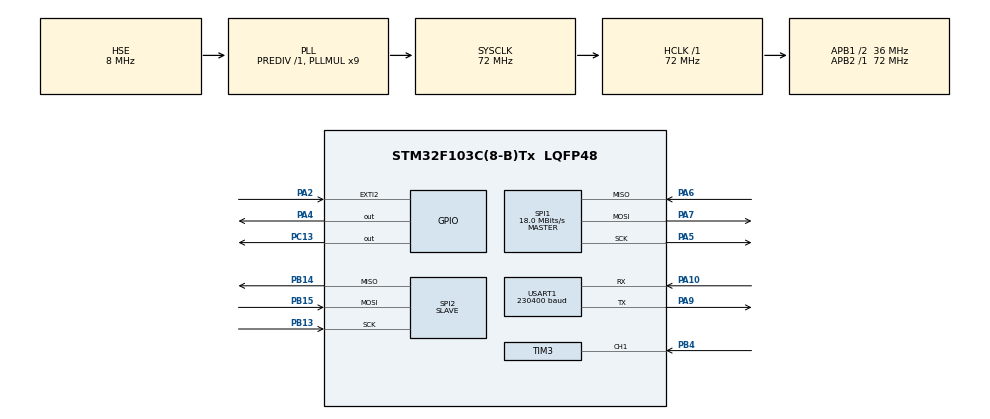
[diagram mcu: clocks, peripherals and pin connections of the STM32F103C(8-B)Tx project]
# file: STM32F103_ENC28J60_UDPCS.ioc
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Dma.Request0=SPI2_TX
Dma.Request1=SPI2_RX
Dma.SPI2_RX.1.Direction=DMA_PERIPH_TO_MEMORY
Dma.SPI2_RX.1.Instance=DMA1_Channel4
Dma.SPI2_RX.1.MemDataAlignment=DMA_MDATAALIGN_BYTE
Dma.SPI2_RX.1.MemInc=DMA_MINC_ENABLE
Dma.SPI2_RX.1.Mode=DMA_NORMAL
Dma.SPI2_RX.1.PeriphDataAlignment=DMA_PDATAALIGN_BYTE
Dma.SPI2_RX.1.PeriphInc=DMA_PINC_DISABLE
Dma.SPI2_RX.1.Priority=DMA_PRIORITY_VERY_HIGH
Dma.SPI2_TX.0.Direction=DMA_MEMORY_TO_PERIPH
Dma.SPI2_TX.0.Instance=DMA1_Channel5
Dma.SPI2_TX.0.MemDataAlignment=DMA_MDATAALIGN_BYTE
Dma.SPI2_TX.0.MemInc=DMA_MINC_ENABLE
Dma.SPI2_TX.0.Mode=DMA_NORMAL
Dma.SPI2_TX.0.PeriphDataAlignment=DMA_PDATAALIGN_BYTE
Dma.SPI2_TX.0.PeriphInc=DMA_PINC_DISABLE
Dma.SPI2_TX.0.Priority=DMA_PRIORITY_VERY_HIGH
Mcu.Family=STM32F1
Mcu.Name=STM32F103C(8-B)Tx
Mcu.Package=LQFP48
NVIC.DMA1_Channel4_IRQn=true\:0\:0\:false\:false\:true\:false\:true
NVIC.DMA1_Channel5_IRQn=true\:0\:0\:false\:false\:true\:false\:true
NVIC.EXTI2_IRQn=true\:0\:0\:false\:false\:true\:true\:true
NVIC.PriorityGroup=NVIC_PRIORITYGROUP_4
NVIC.SPI1_IRQn=true\:0\:0\:false\:false\:true\:true\:true
NVIC.SPI2_IRQn=true\:0\:0\:false\:false\:true\:true\:true
NVIC.TIM2_IRQn=true\:0\:0\:false\:false\:true\:true\:true
NVIC.USART1_IRQn=true\:0\:0\:false\:false\:true\:true\:true
PA10.Mode=Asynchronous
PA10.Signal=USART1_RX
PA13.Mode=Serial_Wire
PA13.Signal=SYS_JTMS-SWDIO
PA14.Mode=Serial_Wire
PA14.Signal=SYS_JTCK-SWCLK
PA2.GPIO_ModeDefaultEXTI=GPIO_MODE_IT_FALLING
PA2.Signal=GPXTI2
PA4.GPIO_Speed=GPIO_SPEED_FREQ_MEDIUM
PA4.Signal=GPIO_Output
PA5.Mode=Full_Duplex_Master
PA5.Signal=SPI1_SCK
PA6.Mode=Full_Duplex_Master
PA6.Signal=SPI1_MISO
PA7.Mode=Full_Duplex_Master
PA7.Signal=SPI1_MOSI
PA9.Mode=Asynchronous
PA9.Signal=USART1_TX
PB13.Mode=Full_Duplex_Slave
PB13.Signal=SPI2_SCK
PB14.Mode=Full_Duplex_Slave
PB14.Signal=SPI2_MISO
PB15.Mode=Full_Duplex_Slave
PB15.Signal=SPI2_MOSI
PB4.Signal=S_TIM3_CH1
PC13-TAMPER-RTC.GPIO_Speed=GPIO_SPEED_FREQ_MEDIUM
PC13-TAMPER-RTC.Signal=GPIO_Output
PD0-OSC_IN.Mode=HSE-External-Oscillator
PD0-OSC_IN.Signal=RCC_OSC_IN
PD1-OSC_OUT.Mode=HSE-External-Oscillator
PD1-OSC_OUT.Signal=RCC_OSC_OUT
ProjectManager.HeapSize=0x200
ProjectManager.StackSize=0x400
ProjectManager.TargetToolchain=STM32CubeIDE
RCC.AHBCLKDivider=RCC_SYSCLK_DIV1
RCC.AHBFreq_Value=72000000
RCC.APB1CLKDivider=RCC_HCLK_DIV2
RCC.APB1Freq_Value=36000000
RCC.APB1TimFreq_Value=72000000
RCC.APB2CLKDivider=RCC_HCLK_DIV1
RCC.APB2Freq_Value=72000000
RCC.APB2TimFreq_Value=72000000
RCC.HCLKFreq_Value=72000000
RCC.OscillatorTypeHSI=RCC_OSCILLATORTYPE_HSI
RCC.PLLMUL=RCC_PLL_MUL9
RCC.PLLSourceVirtual=RCC_PLLSOURCE_HSE
RCC.SYSCLKFreq_VALUE=72000000
RCC.SYSCLKSource=RCC_SYSCLKSOURCE_PLLCLK
RCC.TimSys_Div=SYSTICK_CLKSOURCE_HCLK
RCC.USBFreq_Value=72000000
SH.S_TIM3_CH1.0=TIM3_CH1,Input_Capture1_from_TI1
SPI1.BaudRatePrescaler=SPI_BAUDRATEPRESCALER_4
SPI1.CalculateBaudRate=18.0 MBits/s
SPI1.Direction=SPI_DIRECTION_2LINES
SPI1.Mode=SPI_MODE_MASTER
SPI1.VirtualType=VM_MASTER
SPI2.Direction=SPI_DIRECTION_2LINES
SPI2.Mode=SPI_MODE_SLAVE
SPI2.VirtualType=VM_SLAVE
TIM2.Period=1000
TIM2.Prescaler=39999
TIM2.TIM_MasterOutputTrigger=TIM_TRGO_UPDATE
TIM3.Channel-Input_Capture1_from_TI1=TIM_CHANNEL_1
TIM3.Channel-Input_Capture2_from_TI1_63=TIM_CHANNEL_2
USART1.BaudRate=230400
USART1.VirtualMode=VM_ASYNC
VP_TIM2_VS_ClockSourceINT.Mode=Internal
VP_TIM3_VS_ClockSourceINT.Mode=Internal
VP_TIM3_VS_indirect_ch1.Mode=Input_Capture2_from_TI1_63
board=ENC28J60_UDPC

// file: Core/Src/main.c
/* USER CODE BEGIN Header */
/**
  ******************************************************************************
  * @file           : main.c
  * @brief          : Main program body
  ******************************************************************************
  * @attention
  *
  * Copyright (c) 2023 STMicroelectronics.
  * All rights reserved.
  *
  * This software is licensed under terms that can be found in the LICENSE file
  * in the root directory of this software component.
  * If no LICENSE file comes with this software, it is provided AS-IS.
  *
  ******************************************************************************
  */
/* USER CODE END Header */
#include "main.h"

/* USER CODE BEGIN Includes */
#include "net.h"
#include "enc28j60.h"
/* USER CODE END Includes */

/* USER CODE BEGIN PTD */
#define delayUS_ASM(us) do {                           \
asm volatile ("MOV R0,%[loops]\n                       \
              1: \n                                    \
              SUB R0, #1\n                             \
              CMP R0, #0\n                             \
              BNE 1b \t"                               \
              : : [loops] "r" (us/30) : "memory"        \
              );                                       \
} while(0)
/* USER CODE END PTD */

SPI_HandleTypeDef hspi1;
SPI_HandleTypeDef hspi2;
DMA_HandleTypeDef hdma_spi2_tx;
DMA_HandleTypeDef hdma_spi2_rx;

TIM_HandleTypeDef htim2;
TIM_HandleTypeDef htim3;

UART_HandleTypeDef huart1;

/* USER CODE BEGIN PV */
/* Private variables ---------------------------------------------------------*/
char str[20];
/* USER CODE END PV */

void SystemClock_Config(void);
static void MX_GPIO_Init(void);
static void MX_SPI1_Init(void);
static void MX_TIM2_Init(void);
static void MX_USART1_UART_Init(void);
static void MX_DMA_Init(void);
static void MX_SPI2_Init(void);
static void MX_TIM3_Init(void);
/* USER CODE BEGIN PFP */
/* Private function prototypes -----------------------------------------------*/

/* USER CODE END PFP */

int main(void)
{

  /* MCU Configuration--------------------------------------------------------*/

  /* Reset of all peripherals, Initializes the Flash interface and the Systick. */
  HAL_Init();

  /* Configure the system clock */
  SystemClock_Config();

  /* Initialize all configured peripherals */
  MX_GPIO_Init();
  MX_SPI1_Init();
  MX_TIM2_Init();
  MX_USART1_UART_Init();
  MX_DMA_Init();
  MX_SPI2_Init();
  MX_TIM3_Init();
  /* USER CODE BEGIN 2 */
	net_ini();
	HAL_UART_Receive_IT(&huart1, (uint8_t*)str,1);
	HAL_TIM_Base_Start_IT(&htim2);

    HAL_TIM_IC_Start_IT(&htim3, TIM_CHANNEL_1);
    HAL_TIM_IC_Start_IT(&htim3, TIM_CHANNEL_2);
  /* USER CODE END 2 */

  /* Infinite loop */
  /* USER CODE BEGIN WHILE */
    //PB4  -  вход TIM3 (F0 - синхро от ISDN)
    //PB13  -  SPI2 CLK
    //PB14  -  SPI2 MISO - выход сигнала ISDN
    //PB15  -  SPI2 MOSI - вход сигнала ISDN
    uint8_t destIp[4] = {192,168,1,17};
    uint16_t destPort = 4095;
  while (1)
  {
      udp_send(destIp,destPort);
//      delayUS_ASM(500000);
      HAL_UART_Transmit(&huart1,"udp_send\r\n",10,0x1000);

    /* USER CODE END WHILE */

    /* USER CODE BEGIN 3 */
//        net_poll();
  }
  /* USER CODE END 3 */
}

void SystemClock_Config(void)
{
  RCC_OscInitTypeDef RCC_OscInitStruct = {0};
  RCC_ClkInitTypeDef RCC_ClkInitStruct = {0};

  /** Initializes the RCC Oscillators according to the specified parameters
  * in the RCC_OscInitTypeDef structure.
  */
  RCC_OscInitStruct.OscillatorType = RCC_OSCILLATORTYPE_HSI|RCC_OSCILLATORTYPE_HSE;
  RCC_OscInitStruct.HSEState = RCC_HSE_ON;
  RCC_OscInitStruct.HSEPredivValue = RCC_HSE_PREDIV_DIV1;
  RCC_OscInitStruct.HSIState = RCC_HSI_ON;
  RCC_OscInitStruct.PLL.PLLState = RCC_PLL_ON;
  RCC_OscInitStruct.PLL.PLLSource = RCC_PLLSOURCE_HSE;
  RCC_OscInitStruct.PLL.PLLMUL = RCC_PLL_MUL9;
  if (HAL_RCC_OscConfig(&RCC_OscInitStruct) != HAL_OK)
  {
    Error_Handler();
  }
  /** Initializes the CPU, AHB and APB buses clocks
  */
  RCC_ClkInitStruct.ClockType = RCC_CLOCKTYPE_HCLK|RCC_CLOCKTYPE_SYSCLK
                              |RCC_CLOCKTYPE_PCLK1|RCC_CLOCKTYPE_PCLK2;
  RCC_ClkInitStruct.SYSCLKSource = RCC_SYSCLKSOURCE_PLLCLK;
  RCC_ClkInitStruct.AHBCLKDivider = RCC_SYSCLK_DIV1;
  RCC_ClkInitStruct.APB1CLKDivider = RCC_HCLK_DIV2;
  RCC_ClkInitStruct.APB2CLKDivider = RCC_HCLK_DIV1;

  if (HAL_RCC_ClockConfig(&RCC_ClkInitStruct, FLASH_LATENCY_2) != HAL_OK)
  {
    Error_Handler();
  }
}

static void MX_SPI1_Init(void)
{

  /* SPI1 parameter configuration*/
  hspi1.Instance = SPI1;
  hspi1.Init.Mode = SPI_MODE_MASTER;
  hspi1.Init.Direction = SPI_DIRECTION_2LINES;
  hspi1.Init.DataSize = SPI_DATASIZE_8BIT;
  hspi1.Init.CLKPolarity = SPI_POLARITY_LOW;
  hspi1.Init.CLKPhase = SPI_PHASE_1EDGE;
  hspi1.Init.NSS = SPI_NSS_SOFT;
  hspi1.Init.BaudRatePrescaler = SPI_BAUDRATEPRESCALER_4;
  hspi1.Init.FirstBit = SPI_FIRSTBIT_MSB;
  hspi1.Init.TIMode = SPI_TIMODE_DISABLE;
  hspi1.Init.CRCCalculation = SPI_CRCCALCULATION_DISABLE;
  hspi1.Init.CRCPolynomial = 10;
  if (HAL_SPI_Init(&hspi1) != HAL_OK)
  {
    Error_Handler();
  }

}

static void MX_SPI2_Init(void)
{

  /* SPI2 parameter configuration*/
  hspi2.Instance = SPI2;
  hspi2.Init.Mode = SPI_MODE_SLAVE;
  hspi2.Init.Direction = SPI_DIRECTION_2LINES;
  hspi2.Init.DataSize = SPI_DATASIZE_8BIT;
  hspi2.Init.CLKPolarity = SPI_POLARITY_LOW;
  hspi2.Init.CLKPhase = SPI_PHASE_1EDGE;
  hspi2.Init.NSS = SPI_NSS_SOFT;
  hspi2.Init.FirstBit = SPI_FIRSTBIT_MSB;
  hspi2.Init.TIMode = SPI_TIMODE_DISABLE;
  hspi2.Init.CRCCalculation = SPI_CRCCALCULATION_DISABLE;
  hspi2.Init.CRCPolynomial = 10;
  if (HAL_SPI_Init(&hspi2) != HAL_OK)
  {
    Error_Handler();
  }

}

static void MX_TIM2_Init(void)
{

  TIM_ClockConfigTypeDef sClockSourceConfig = {0};
  TIM_MasterConfigTypeDef sMasterConfig = {0};

  htim2.Instance = TIM2;
  htim2.Init.Prescaler = 39999;
  htim2.Init.CounterMode = TIM_COUNTERMODE_UP;
  htim2.Init.Period = 1000;
  htim2.Init.ClockDivision = TIM_CLOCKDIVISION_DIV1;
  htim2.Init.AutoReloadPreload = TIM_AUTORELOAD_PRELOAD_DISABLE;
  if (HAL_TIM_Base_Init(&htim2) != HAL_OK)
  {
    Error_Handler();
  }
  sClockSourceConfig.ClockSource = TIM_CLOCKSOURCE_INTERNAL;
  if (HAL_TIM_ConfigClockSource(&htim2, &sClockSourceConfig) != HAL_OK)
  {
    Error_Handler();
  }
  sMasterConfig.MasterOutputTrigger = TIM_TRGO_UPDATE;
  sMasterConfig.MasterSlaveMode = TIM_MASTERSLAVEMODE_DISABLE;
  if (HAL_TIMEx_MasterConfigSynchronization(&htim2, &sMasterConfig) != HAL_OK)
  {
    Error_Handler();
  }

}

static void MX_TIM3_Init(void)
{

  TIM_ClockConfigTypeDef sClockSourceConfig = {0};
  TIM_MasterConfigTypeDef sMasterConfig = {0};
  TIM_IC_InitTypeDef sConfigIC = {0};

  htim3.Instance = TIM3;
  htim3.Init.Prescaler = 0;
  htim3.Init.CounterMode = TIM_COUNTERMODE_UP;
  htim3.Init.Period = 65535;
  htim3.Init.ClockDivision = TIM_CLOCKDIVISION_DIV1;
  htim3.Init.AutoReloadPreload = TIM_AUTORELOAD_PRELOAD_DISABLE;
  if (HAL_TIM_Base_Init(&htim3) != HAL_OK)
  {
    Error_Handler();
  }
  sClockSourceConfig.ClockSource = TIM_CLOCKSOURCE_INTERNAL;
  if (HAL_TIM_ConfigClockSource(&htim3, &sClockSourceConfig) != HAL_OK)
  {
    Error_Handler();
  }
  if (HAL_TIM_IC_Init(&htim3) != HAL_OK)
  {
    Error_Handler();
  }
  sMasterConfig.MasterOutputTrigger = TIM_TRGO_RESET;
  sMasterConfig.MasterSlaveMode = TIM_MASTERSLAVEMODE_DISABLE;
  if (HAL_TIMEx_MasterConfigSynchronization(&htim3, &sMasterConfig) != HAL_OK)
  {
    Error_Handler();
  }
  sConfigIC.ICPolarity = TIM_INPUTCHANNELPOLARITY_RISING;
  sConfigIC.ICSelection = TIM_ICSELECTION_DIRECTTI;
  sConfigIC.ICPrescaler = TIM_ICPSC_DIV1;
  sConfigIC.ICFilter = 0;
  if (HAL_TIM_IC_ConfigChannel(&htim3, &sConfigIC, TIM_CHANNEL_1) != HAL_OK)
  {
    Error_Handler();
  }
  sConfigIC.ICSelection = TIM_ICSELECTION_INDIRECTTI;
  if (HAL_TIM_IC_ConfigChannel(&htim3, &sConfigIC, TIM_CHANNEL_2) != HAL_OK)
  {
    Error_Handler();
  }

}

static void MX_USART1_UART_Init(void)
{

  huart1.Instance = USART1;
  huart1.Init.BaudRate = 230400;
  huart1.Init.WordLength = UART_WORDLENGTH_8B;
  huart1.Init.StopBits = UART_STOPBITS_1;
  huart1.Init.Parity = UART_PARITY_NONE;
  huart1.Init.Mode = UART_MODE_TX_RX;
  huart1.Init.HwFlowCtl = UART_HWCONTROL_NONE;
  huart1.Init.OverSampling = UART_OVERSAMPLING_16;
  if (HAL_UART_Init(&huart1) != HAL_OK)
  {
    Error_Handler();
  }

}

static void MX_DMA_Init(void)
{

  /* DMA controller clock enable */
  __HAL_RCC_DMA1_CLK_ENABLE();

  /* DMA interrupt init */
  /* DMA1_Channel4_IRQn interrupt configuration */
  HAL_NVIC_SetPriority(DMA1_Channel4_IRQn, 0, 0);
  HAL_NVIC_EnableIRQ(DMA1_Channel4_IRQn);
  /* DMA1_Channel5_IRQn interrupt configuration */
  HAL_NVIC_SetPriority(DMA1_Channel5_IRQn, 0, 0);
  HAL_NVIC_EnableIRQ(DMA1_Channel5_IRQn);

}

static void MX_GPIO_Init(void)
{
  GPIO_InitTypeDef GPIO_InitStruct = {0};

  /* GPIO Ports Clock Enable */
  __HAL_RCC_GPIOC_CLK_ENABLE();
  __HAL_RCC_GPIOD_CLK_ENABLE();
  __HAL_RCC_GPIOA_CLK_ENABLE();
  __HAL_RCC_GPIOB_CLK_ENABLE();

  /*Configure GPIO pin Output Level */
  HAL_GPIO_WritePin(GPIOC, GPIO_PIN_13, GPIO_PIN_RESET);

  /*Configure GPIO pin Output Level */
  HAL_GPIO_WritePin(GPIOA, GPIO_PIN_4, GPIO_PIN_RESET);

  /*Configure GPIO pin : PC13 */
  GPIO_InitStruct.Pin = GPIO_PIN_13;
  GPIO_InitStruct.Mode = GPIO_MODE_OUTPUT_PP;
  GPIO_InitStruct.Pull = GPIO_NOPULL;
  GPIO_InitStruct.Speed = GPIO_SPEED_FREQ_MEDIUM;
  HAL_GPIO_Init(GPIOC, &GPIO_InitStruct);

  /*Configure GPIO pin : PA2 */
  GPIO_InitStruct.Pin = GPIO_PIN_2;
  GPIO_InitStruct.Mode = GPIO_MODE_IT_FALLING;
  GPIO_InitStruct.Pull = GPIO_NOPULL;
  HAL_GPIO_Init(GPIOA, &GPIO_InitStruct);

  /*Configure GPIO pin : PA4 */
  GPIO_InitStruct.Pin = GPIO_PIN_4;
  GPIO_InitStruct.Mode = GPIO_MODE_OUTPUT_PP;
  GPIO_InitStruct.Pull = GPIO_NOPULL;
  GPIO_InitStruct.Speed = GPIO_SPEED_FREQ_MEDIUM;
  HAL_GPIO_Init(GPIOA, &GPIO_InitStruct);

  /* EXTI interrupt init*/
  HAL_NVIC_SetPriority(EXTI2_IRQn, 0, 0);
  HAL_NVIC_EnableIRQ(EXTI2_IRQn);

}

/* USER CODE BEGIN 4 */
void HAL_UART_RxCpltCallback(UART_HandleTypeDef *huart)
{
  if(huart==&huart1)
  {
    UART1_RxCpltCallback();
  }
}
//----------------------------------------------------------
void HAL_TIM_PeriodElapsedCallback(TIM_HandleTypeDef *htim)
{
  if(htim==&htim2)
  {
    TIM_PeriodElapsedCallback();
  }
}
//----------------------------------------------------------
void HAL_GPIO_EXTI_Callback(uint16_t GPIO_Pin)
{
  if(GPIO_Pin== GPIO_PIN_2){
    net_poll();
  } else{
    __NOP();
  }
}
/* USER CODE END 4 */

void Error_Handler(void)
{
  while(1)
  {
  }
}
